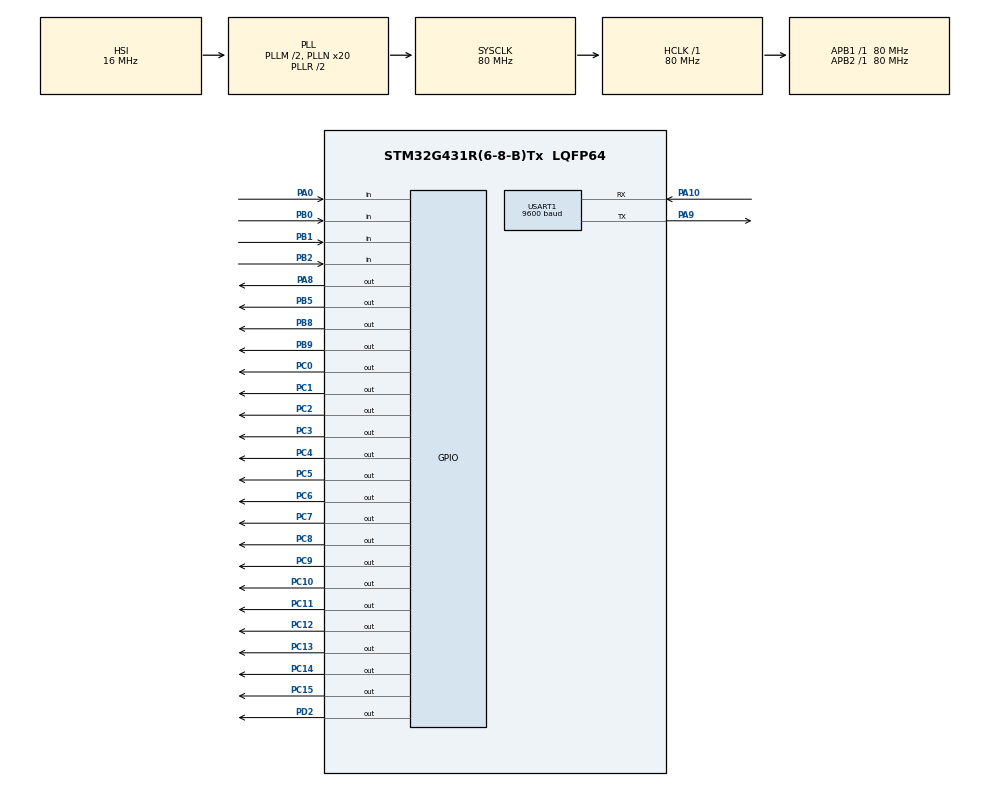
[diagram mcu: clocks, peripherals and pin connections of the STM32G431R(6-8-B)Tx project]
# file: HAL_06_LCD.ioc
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Mcu.Family=STM32G4
Mcu.Name=STM32G431R(6-8-B)Tx
Mcu.Package=LQFP64
NVIC.PriorityGroup=NVIC_PRIORITYGROUP_4
NVIC.TIM1_UP_TIM16_IRQn=true\:0\:0\:false\:false\:true\:true\:true\:true
PA0.GPIO_PuPd=GPIO_PULLUP
PA0.Signal=GPIO_Input
PA10.Mode=Asynchronous
PA10.Signal=USART1_RX
PA8.Signal=GPIO_Output
PA9.Mode=Asynchronous
PA9.Signal=USART1_TX
PB0.GPIO_PuPd=GPIO_PULLUP
PB0.Signal=GPIO_Input
PB1.GPIO_PuPd=GPIO_PULLUP
PB1.Signal=GPIO_Input
PB2.GPIO_PuPd=GPIO_PULLUP
PB2.Signal=GPIO_Input
PB5.Signal=GPIO_Output
PB8-BOOT0.Signal=GPIO_Output
PB9.Signal=GPIO_Output
PC0.Signal=GPIO_Output
PC1.Signal=GPIO_Output
PC10.GPIO_ModeDefaultOutputPP=GPIO_MODE_OUTPUT_PP
PC10.GPIO_PuPd=GPIO_PULLUP
PC10.PinState=GPIO_PIN_SET
PC10.Signal=GPIO_Output
PC11.GPIO_ModeDefaultOutputPP=GPIO_MODE_OUTPUT_PP
PC11.GPIO_PuPd=GPIO_PULLUP
PC11.PinState=GPIO_PIN_SET
PC11.Signal=GPIO_Output
PC12.GPIO_ModeDefaultOutputPP=GPIO_MODE_OUTPUT_PP
PC12.GPIO_PuPd=GPIO_PULLUP
PC12.PinState=GPIO_PIN_SET
PC12.Signal=GPIO_Output
PC13.GPIO_ModeDefaultOutputPP=GPIO_MODE_OUTPUT_PP
PC13.GPIO_PuPd=GPIO_PULLUP
PC13.PinState=GPIO_PIN_SET
PC13.Signal=GPIO_Output
PC14-OSC32_IN.GPIO_ModeDefaultOutputPP=GPIO_MODE_OUTPUT_PP
PC14-OSC32_IN.GPIO_PuPd=GPIO_PULLUP
PC14-OSC32_IN.PinState=GPIO_PIN_SET
PC14-OSC32_IN.Signal=GPIO_Output
PC15-OSC32_OUT.GPIO_ModeDefaultOutputPP=GPIO_MODE_OUTPUT_PP
PC15-OSC32_OUT.GPIO_PuPd=GPIO_PULLUP
PC15-OSC32_OUT.PinState=GPIO_PIN_SET
PC15-OSC32_OUT.Signal=GPIO_Output
PC2.Signal=GPIO_Output
PC3.Signal=GPIO_Output
PC4.Signal=GPIO_Output
PC5.Signal=GPIO_Output
PC6.Signal=GPIO_Output
PC7.Signal=GPIO_Output
PC8.GPIO_ModeDefaultOutputPP=GPIO_MODE_OUTPUT_PP
PC8.GPIO_PuPd=GPIO_PULLUP
PC8.PinState=GPIO_PIN_SET
PC8.Signal=GPIO_Output
PC9.GPIO_ModeDefaultOutputPP=GPIO_MODE_OUTPUT_PP
PC9.GPIO_PuPd=GPIO_PULLUP
PC9.PinState=GPIO_PIN_SET
PC9.Signal=GPIO_Output
PD2.Signal=GPIO_Output
PF0-OSC_IN.Mode=HSE-External-Oscillator
PF0-OSC_IN.Signal=RCC_OSC_IN
PF1-OSC_OUT.Mode=HSE-External-Oscillator
PF1-OSC_OUT.Signal=RCC_OSC_OUT
ProjectManager.HeapSize=0x200
ProjectManager.StackSize=0x400
ProjectManager.TargetToolchain=MDK-ARM V5.27
RCC.ADC12Freq_Value=80000000
RCC.AHBFreq_Value=80000000
RCC.APB1Freq_Value=80000000
RCC.APB1TimFreq_Value=80000000
RCC.APB2Freq_Value=80000000
RCC.APB2TimFreq_Value=80000000
RCC.CortexFreq_Value=80000000
RCC.EXTERNAL_CLOCK_VALUE=12288000
RCC.HCLKFreq_Value=80000000
RCC.HSE_VALUE=24000000
RCC.HSI48_VALUE=48000000
RCC.HSI_VALUE=16000000
RCC.LSE_VALUE=32768
RCC.PLLM=RCC_PLLM_DIV2
RCC.PLLN=20
RCC.SYSCLKFreq_VALUE=80000000
RCC.SYSCLKSource=RCC_SYSCLKSOURCE_PLLCLK
RCC.USBFreq_Value=80000000
RCC.VCOOutputFreq_Value=160000000
TIM16.PeriodNoDither=1000-1
TIM16.Prescaler=800-1
USART1.BaudRate=9600
USART1.VirtualMode-Asynchronous=VM_ASYNC
VP_SYS_VS_DBSignals.Mode=DisableDeadBatterySignals
VP_TIM16_VS_ClockSourceINT.Mode=Enable_Timer
board=custom

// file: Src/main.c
/* USER CODE BEGIN Header */
/**
  ******************************************************************************
  * @file           : main.c
  * @brief          : Main program body
  ******************************************************************************
  * @attention
  *
  * <h2><center>&copy; Copyright (c) 2021 STMicroelectronics.
  * All rights reserved.</center></h2>
  *
  * This software component is licensed by ST under BSD 3-Clause license,
  * the "License"; You may not use this file except in compliance with the
  * License. You may obtain a copy of the License at:
  *                        opensource.org/licenses/BSD-3-Clause
  *
  ******************************************************************************
  */
/* USER CODE END Header */
#include "main.h"
#include "tim.h"
#include "usart.h"
#include "gpio.h"

/* USER CODE BEGIN Includes */
#include "lcd.h"
#include "led.h"
#include "interrupt.h"
#include "i2c_hal.h"
#include "stdio.h"
#include "string.h"
/* USER CODE END Includes */

/* USER CODE BEGIN PD */
extern struct keys Key[];
extern bool led[];
extern uchar view;
extern uint time[];
extern uint time_tick;
/* USER CODE END PD */

/* USER CODE BEGIN PM */
void key_proc(void);
void lcd_proc(void);
void led_proc(void);
/* USER CODE END PM */

/* USER CODE BEGIN PV */

int Alarm[3]={10,0,0};
int time_last[3];
int Alarm_last[3];
uchar time_choose=0;

int time_change,Alarm_change;
/* USER CODE END PV */

void SystemClock_Config(void);

int main(void)
{

  /* MCU Configuration--------------------------------------------------------*/

  /* Reset of all peripherals, Initializes the Flash interface and the Systick. */
  HAL_Init();

  /* Configure the system clock */
  SystemClock_Config();

  /* Initialize all configured peripherals */
  MX_GPIO_Init();
  MX_TIM16_Init();
  MX_USART1_UART_Init();
  /* USER CODE BEGIN 2 */

  LCD_Init();
	I2CInit();
	LED_Disp(0x00);
	HAL_TIM_Base_Start_IT(&htim16);
	//读取eeprom
	uchar temp=eeprom_read(15);
	if(temp!=7)
	{
		eeprom_write(15,7);
		HAL_Delay(10);
		eeprom_write(1,12);
		HAL_Delay(10);
		eeprom_write(2,0);
		HAL_Delay(10);
		eeprom_write(3,0);
		HAL_Delay(10);
		eeprom_write(4,0);
		HAL_Delay(10);
		eeprom_write(5,0);
		HAL_Delay(10);
	}
	else
	{
		Alarm[0]=eeprom_read(1);
		HAL_Delay(10);
		Alarm[1]=eeprom_read(2);
		HAL_Delay(10);
		Alarm[2]=eeprom_read(3);
		HAL_Delay(10);
		time_change=eeprom_read(4);
		HAL_Delay(10);
		Alarm_change=eeprom_read(5);
		HAL_Delay(10);
	}
  /* USER CODE END 2 */

  /* Infinite loop */
  /* USER CODE BEGIN WHILE */

  LCD_Clear(Black);
  LCD_SetBackColor(Black);
  LCD_SetTextColor(White);

  while (1)
  {
		key_proc();
		led_proc();
		lcd_proc();
    /* USER CODE END WHILE */

  }
}

void SystemClock_Config(void)
{
  RCC_OscInitTypeDef RCC_OscInitStruct = {0};
  RCC_ClkInitTypeDef RCC_ClkInitStruct = {0};

  /** Configure the main internal regulator output voltage
  */
  HAL_PWREx_ControlVoltageScaling(PWR_REGULATOR_VOLTAGE_SCALE1);

  /** Initializes the RCC Oscillators according to the specified parameters
  * in the RCC_OscInitTypeDef structure.
  */
  RCC_OscInitStruct.OscillatorType = RCC_OSCILLATORTYPE_HSI;
  RCC_OscInitStruct.HSIState = RCC_HSI_ON;
  RCC_OscInitStruct.HSICalibrationValue = RCC_HSICALIBRATION_DEFAULT;
  RCC_OscInitStruct.PLL.PLLState = RCC_PLL_ON;
  RCC_OscInitStruct.PLL.PLLSource = RCC_PLLSOURCE_HSI;
  RCC_OscInitStruct.PLL.PLLM = RCC_PLLM_DIV2;
  RCC_OscInitStruct.PLL.PLLN = 20;
  RCC_OscInitStruct.PLL.PLLP = RCC_PLLP_DIV2;
  RCC_OscInitStruct.PLL.PLLQ = RCC_PLLQ_DIV2;
  RCC_OscInitStruct.PLL.PLLR = RCC_PLLR_DIV2;
  if (HAL_RCC_OscConfig(&RCC_OscInitStruct) != HAL_OK)
  {
    Error_Handler();
  }

  /** Initializes the CPU, AHB and APB buses clocks
  */
  RCC_ClkInitStruct.ClockType = RCC_CLOCKTYPE_HCLK|RCC_CLOCKTYPE_SYSCLK
                              |RCC_CLOCKTYPE_PCLK1|RCC_CLOCKTYPE_PCLK2;
  RCC_ClkInitStruct.SYSCLKSource = RCC_SYSCLKSOURCE_PLLCLK;
  RCC_ClkInitStruct.AHBCLKDivider = RCC_SYSCLK_DIV1;
  RCC_ClkInitStruct.APB1CLKDivider = RCC_HCLK_DIV1;
  RCC_ClkInitStruct.APB2CLKDivider = RCC_HCLK_DIV1;

  if (HAL_RCC_ClockConfig(&RCC_ClkInitStruct, FLASH_LATENCY_2) != HAL_OK)
  {
    Error_Handler();
  }
}

/* USER CODE BEGIN 4 */
void HighLight_disp(bool mod)
{
	if(mod==0)
	{
		LCD_DisplayChar(Line3,Column4,'R');
		LCD_DisplayChar(Line3,Column5,'T');
		LCD_DisplayChar(Line3,Column6,'C');
		LCD_DisplayChar(Line3,Column7,':');
		LCD_DisplayChar(Line3,Column10,':');
		LCD_DisplayChar(Line3,Column13,':');
		for(int i=0;i<3;i++)
		{
			if(i==time_choose) LCD_SetTextColor(Red);
			LCD_DisplayChar(Line3,Column8-3*i*16,(time[i]/10)+'0');
			LCD_DisplayChar(Line3,Column9-3*i*16,time[i]%10+'0');
			if(i==time_choose) LCD_SetTextColor(White);
		}
	}
	else
	{
		LCD_DisplayChar(Line3,Column2,'A');
		LCD_DisplayChar(Line3,Column3,'l');
		LCD_DisplayChar(Line3,Column4,'a');
		LCD_DisplayChar(Line3,Column5,'r');
		LCD_DisplayChar(Line3,Column6,'m');
		LCD_DisplayChar(Line3,Column7,':');
		LCD_DisplayChar(Line3,Column10,':');
		LCD_DisplayChar(Line3,Column13,':');
		for(int i=0;i<3;i++)
		{
			if(i==time_choose) LCD_SetTextColor(Red);
			LCD_DisplayChar(Line3,Column8-3*i*16,(Alarm[i]/10)+'0');
			LCD_DisplayChar(Line3,Column9-3*i*16,Alarm[i]%10+'0');
			if(i==time_choose) LCD_SetTextColor(White);
		}
	}
}
void lcd_proc(void)
{
	char text[30];
	if(view==0)
	{
		sprintf(text,"       MAIN     ");
		LCD_DisplayStringLine(Line0,(unsigned char *)text);
		LCD_DisplayChar(Line3,Column4,'R');
		LCD_DisplayChar(Line3,Column5,'T');
		LCD_DisplayChar(Line3,Column6,'C');
		LCD_DisplayChar(Line3,Column7,':');
		LCD_DisplayChar(Line3,Column10,':');
		LCD_DisplayChar(Line3,Column13,':');
		for(int i=0;i<3;i++)
		{
			LCD_DisplayChar(Line3,Column8-3*i*16,(time[i]/10)+'0');
			LCD_DisplayChar(Line3,Column9-3*i*16,time[i]%10+'0');
		}
	}
	else if(view==1)
	{
		sprintf(text,"    RTC-SETTING     ");
		LCD_DisplayStringLine(Line0,(unsigned char *)text);
		HighLight_disp(0);
	}
	else
	{
		sprintf(text,"   ALARM-SETTING     ");
		LCD_DisplayStringLine(Line0,(unsigned char *)text);
		HighLight_disp(1);
	}
}

void key_proc(void)
{
	char text[30];
	if(Key[0].single_flag)
	{
		if(view==0)
		{
			view=1;
			time_choose=0;
			LCD_Clear(Black);
			for(int i=0;i<3;i++) time_last[i]=time[i];
		}
		else if(view==1)
		{
			view=0;
			LCD_Clear(Black);
			for(int i=0;i<3;i++)
			{
				if(time[i]!=time_last[i])
				{
					time_change+=1;
					eeprom_write(4,time_change);
					HAL_Delay(10);
					sprintf(text,"New RTC:%d%d:%d%d:%d%d\r\n",time[0]/10,time[0]%10,time[1]/10,time[1]%10,time[2]/10,time[2]%10);
					HAL_UART_Transmit(&huart1,(uint8_t*)text,strlen(text),50);
					break;
				}
			}
		}
		else
		{
			time_choose+=1;
			if(time_choose==3) time_choose=0;
		}
		Key[0].single_flag=0;
	}
	if(Key[1].single_flag)
	{
		if(view==0)
		{
			view=2;
			time_choose=0;
			LCD_Clear(Black);
			for(int i=0;i<3;i++) Alarm_last[i]=Alarm[i];
		}
		else if(view==2)
		{
			view=0;
			LCD_Clear(Black);
			for(int i=0;i<3;i++)
			{
				if(Alarm_last[i]!=Alarm[i])
				{
					Alarm_change+=1;
					eeprom_write(1,Alarm[0]);
					HAL_Delay(10);
					eeprom_write(2,Alarm[1]);
					HAL_Delay(10);
					eeprom_write(3,Alarm[2]);
					HAL_Delay(10);
					eeprom_write(5,Alarm_change);
					HAL_Delay(10);
					sprintf(text,"New Alarm:%d%d:%d%d:%d%d\r\n",Alarm[0]/10,Alarm[0]%10,Alarm[1]/10,Alarm[1]%10,Alarm[2]/10,Alarm[2]%10);
					HAL_UART_Transmit(&huart1,(uint8_t*)text,strlen(text),50);
					break;
				}
			}
		}
		else
		{
			time_choose+=1;
			if(time_choose==3) time_choose=0;
		}
		Key[1].single_flag=0;
	}
	if(Key[2].single_flag || Key[2].long_flag)
	{
		if(view==1)
		{
			time[time_choose]++;
			if(time[0]==24) time[0]=0;
			if(time[1]==60) time[1]=0;
			if(time[2]==60) time[2]=0;

		}
		else if(view==2)
		{
			Alarm[time_choose]++;
			if(Alarm[0]==24) Alarm[0]=0;
			if(Alarm[1]==60) Alarm[1]=0;
			if(Alarm[2]==60) Alarm[2]=0;
		}
		Key[2].single_flag=0;
	}
	if(Key[3].single_flag || Key[3].long_flag)
	{
		if(view==1)
		{
			time[time_choose]--;
			if(time[0]==-1) time[0]=23;
			if(time[1]==-1) time[1]=59;
			if(time[2]==-1) time[2]=59;
		}
		else if(view==2)
		{
			Alarm[time_choose]--;
			if(time[0]==-1) Alarm[0]=23;
			if(time[1]==-1) Alarm[1]=59;
			if(time[2]==-1) Alarm[2]=59;
		}
		Key[3].single_flag=0;
	}
}
void led_proc(void)
{
	for(int i=0;i<3;i++)
	{
		if(i!=view) led[i]=0;
		else led[i]=1;
	}
}
/* USER CODE END 4 */

void Error_Handler(void)
{
}
